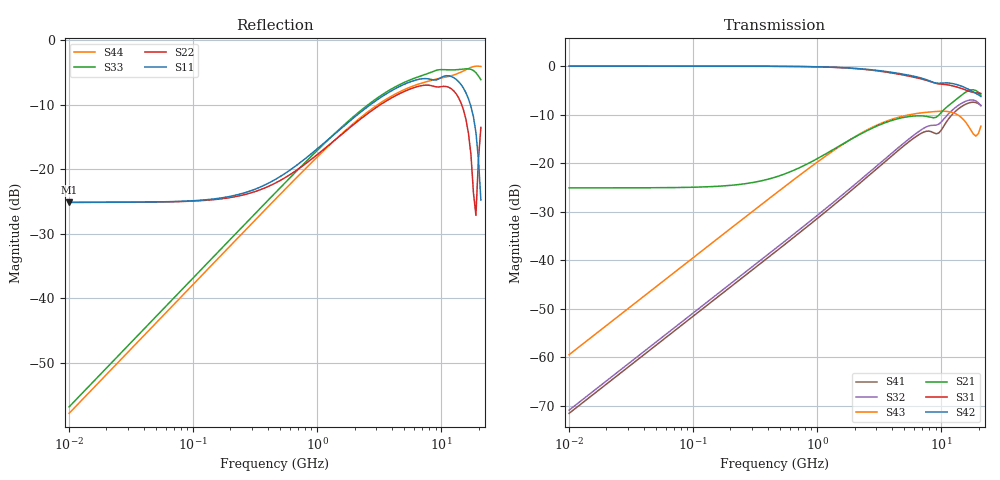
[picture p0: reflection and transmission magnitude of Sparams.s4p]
!S-Parameters converted from PSpice model by SpiceSParamCombine
!Created on 06/16/2006 at 14:27:10
# GHz S DB R 50
! Freq db(S11) ang(S11) db(S12) ang(S12) db(S13) ang(S13) db(S14) ang(S14)
!  db(S21) ang(S21) db(S22) ang(S22) db(S23) ang(S23) db(S24) ang(S24)
!  db(S31) ang(S31) db(S32) ang(S32) db(S33) ang(S33) db(S34) ang(S34)
!  db(S41) ang(S41) db(S42) ang(S42) db(S43) ang(S43) db(S44) ang(S44)
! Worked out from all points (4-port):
!   167 points, 10 MHz to 20.89 GHz, reference 50 ohm
!   strongest paths, dB at 10 MHz, 66.07 MHz, 457.1 MHz, 3.162 GHz, 20.89 GHz:
!     S42: 0.0, 0.0, 0.0, -0.9, -6.2
!     S31: 0.0, 0.0, 0.0, -1.0, -5.6
!     S21: -25.1, -25.0, -22.9, -12.2, -6.0
!     S43: -59.5, -43.1, -26.4, -11.9, -12.4
!     S32: -70.9, -54.5, -37.7, -20.1, -8.2
!     S41: -71.6, -55.2, -38.4, -20.7, -8.1
!   lowest |S11| = -25.1 dB at 10 MHz (marker M1), VSWR 1.12, Z = 55.9 + j0.139 ohm
!   |S11| at or under -10 dB: start of sweep to 2.667 GHz; 17.22 GHz to end of sweep
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0.01  -25.10 1.3  -25.10 0.9  -0.00 -0.1  -71.60 -90.4
      -25.10 0.9  -25.10 1.1  -70.94 -90.4  -0.00 -0.1
      -0.00 -0.1  -70.94 -90.4  -56.82 89.8  -59.50 89.8
      -71.60 -90.4  -0.00 -0.1  -59.50 89.8  -57.82 89.8
0.229087  -23.91 26.3  -24.43 18.9  -0.01 -3.2  -44.39 -99.8
          -24.43 18.9  -24.14 23.3  -43.73 -99.6  -0.01 -3.2
          -0.01 -3.2  -43.73 -99.6  -29.63 86.3  -32.32 86.1
          -44.39 -99.8  -0.01 -3.2  -32.32 86.1  -30.63 86.3
1.258925  -15.17 54.7  -17.64 46.8  -0.21 -17.3  -29.36 -142.0
          -17.64 46.8  -16.13 52.0  -28.73 -141.2  -0.19 -17.0
          -0.21 -17.3  -28.73 -141.2  -15.19 70.3  -17.98 69.4
          -29.36 -142.0  -0.19 -17.0  -17.98 69.4  -16.21 70.3
6.606934  -6.02 19.9  -10.23 18.9  -2.51 -74.9  -14.13 -281.1
          -10.23 18.9  -7.09 17.0  -13.45 -278.0  -2.31 -75.9
          -2.51 -74.9  -13.45 -278.0  -5.60 16.1  -9.70 20.2
          -14.13 -281.1  -2.31 -75.9  -9.70 20.2  -6.75 17.7
14.4544  -6.83 -16.6  -6.05 10.6  -4.57 -145.2  -8.41 -369.4
         -6.05 10.6  -9.68 -32.6  -7.73 -375.7  -4.08 -150.7
         -4.57 -145.2  -7.73 -375.7  -4.46 -27.0  -10.54 -9.1
         -8.41 -369.4  -4.08 -150.7  -10.54 -9.1  -4.90 -16.8
19.05461  -14.25 -34.1  -5.02 -19.8  -5.50 -186.3  -7.50 -425.8
          -5.02 -19.8  -27.12 -184.3  -7.17 -436.7  -5.61 -198.8
          -5.50 -186.3  -7.17 -436.7  -4.99 -53.9  -14.42 7.4
          -7.50 -425.8  -5.61 -198.8  -14.42 7.4  -3.98 -39.1
20.89296  -24.75 9.5  -5.97 -31.3  -5.63 -204.5  -8.09 -445.8
          -5.97 -31.3  -13.47 -247.4  -8.16 -459.1  -6.24 -218.3
          -5.63 -204.5  -8.16 -459.1  -6.08 -62.4  -12.38 27.0
          -8.09 -445.8  -6.24 -218.3  -12.38 27.0  -4.03 -48.5
